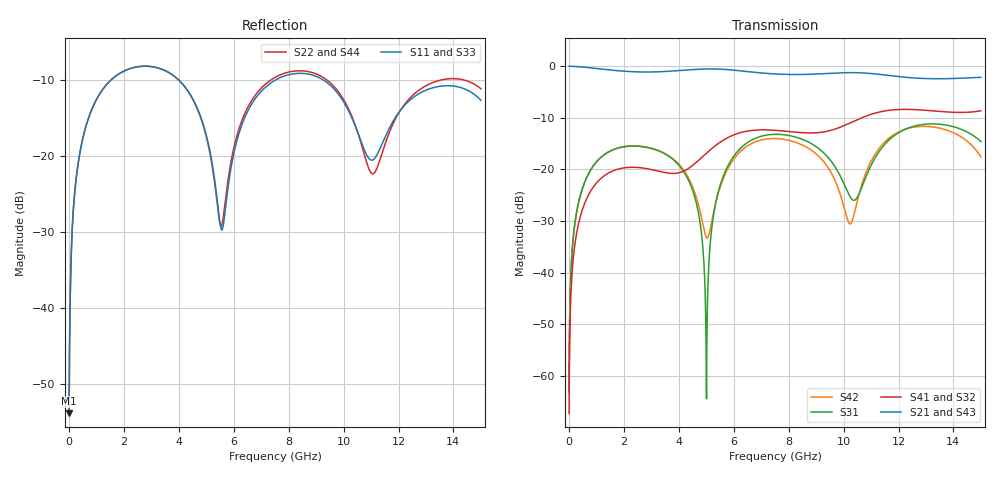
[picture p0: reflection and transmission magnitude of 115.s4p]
! Created with skrf 1.8.0 (http://scikit-rf.org).
# GHz S RI R 50.0
!freq ReS11 ImS11 ReS12 ImS12 ReS13 ImS13
! ReS14 ImS14
! ReS21 ImS21 ReS22 ImS22 ReS23 ImS23
! ReS24 ImS24
! ReS31 ImS31 ReS32 ImS32 ReS33 ImS33
! ReS34 ImS34
! ReS41 ImS41 ReS42 ImS42 ReS43 ImS43
! ReS44 ImS44
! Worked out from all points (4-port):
!   2499 points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, 5 MHz to 15 GHz, reference 50 ohm
!   strongest paths, dB at 5 MHz, 3.476 GHz, 7.19 GHz, 11.1 GHz, 15 GHz:
!     S21: 0.0, -1.1, -1.4, -1.5, -2.2
!     S43: 0.0, -1.1, -1.4, -1.5, -2.2
!     S41: -67.2, -20.6, -12.3, -9.2, -8.7
!     S32: -67.2, -20.7, -12.4, -9.2, -8.7
!     S31: -63.1, -16.9, -13.4, -18.2, -14.6
!     S42: -63.1, -16.9, -14.1, -17.5, -17.6
!   lowest |S11| = -53.9 dB at 5 MHz (marker M1), VSWR 1.00, Z = 50.2 + j0.122 ohm
!   |S11| at or under -10 dB: start of sweep to 1.543 GHz; 3.985 GHz to 7.543 GHz (3.558 GHz wide, 61.7 % of centre); 9.244 GHz to end of sweep
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0.005  0.00161 0.00122  0.9984 -0.00314  8.3e-05 0.000699  -8.03e-05 -0.000429
       0.9984 -0.00314  0.00161 0.00122  -8.03e-05 -0.000429  8.3e-05 0.000699
       8.3e-05 0.000699  -8.03e-05 -0.000429  0.00161 0.00122  0.9984 -0.00314
       -8.03e-05 -0.000429  8.3e-05 0.000699  0.9984 -0.00314  0.00161 0.00122
1.519383  0.257 0.1792  0.5737 -0.7135  0.1332 0.0716  -0.0941 -0.0102
          0.5737 -0.7135  0.2569 0.1793  -0.0939 -0.0104  0.134 0.0706
          0.1332 0.0716  -0.0939 -0.0104  0.2572 0.1792  0.5737 -0.7135
          -0.0941 -0.0102  0.134 0.0706  0.5737 -0.7135  0.2569 0.1794
4.239266  0.2117 -0.1852  -0.6038 -0.6872  0.0571 -0.0689  -0.0502 0.0843
          -0.6038 -0.6872  0.2116 -0.1834  -0.0514 0.0827  0.0472 -0.0799
          0.0571 -0.0689  -0.0514 0.0827  0.2119 -0.1869  -0.6036 -0.687
          -0.0502 0.0843  0.0472 -0.0799  -0.6036 -0.687  0.2131 -0.1831
5  0.0679 -0.1185  -0.8619 -0.3708  0.000626 -0.000686  -0.051 0.1338
   -0.8619 -0.3708  0.0681 -0.1147  -0.0536 0.1327  -0.0199 -0.00948
   0.000626 -0.000686  -0.0536 0.1327  0.0669 -0.1204  -0.8616 -0.3708
   -0.051 0.1338  -0.0199 -0.00948  -0.8616 -0.3708  0.0703 -0.1153
6.540225  0.1435 0.1412  -0.7759 0.4208  0.1484 0.1103  0.1499 0.1822
          -0.7759 0.4208  0.1541 0.1469  0.1463 0.1847  0.116 0.1265
          0.1484 0.1103  0.1463 0.1847  0.1421 0.1421  -0.7757 0.4214
          0.1499 0.1822  0.116 0.1265  -0.7757 0.4214  0.1554 0.1445
11.01709  0.0929 -0.0105  0.8256 0.1897  -0.0225 0.1094  0.064 -0.3364
          0.8256 0.1897  0.0747 -0.0169  0.0761 -0.3344  -0.0159 0.1212
          -0.0225 0.1094  0.0761 -0.3344  0.0901 -0.0137  0.8258 0.1877
          0.064 -0.3364  -0.0159 0.1212  0.8258 0.1877  0.0792 -0.0222
15  0.2119 -0.0935  -0.2256 -0.7452  0.0818 -0.1671  -0.3299 0.166
    -0.2256 -0.7452  0.2439 -0.1286  -0.3365 0.1464  0.1034 -0.0824
    0.0818 -0.1671  -0.3365 0.1464  0.213 -0.1019  -0.2327 -0.7423
    -0.3299 0.166  0.1034 -0.0824  -0.2327 -0.7423  0.2423 -0.1279
